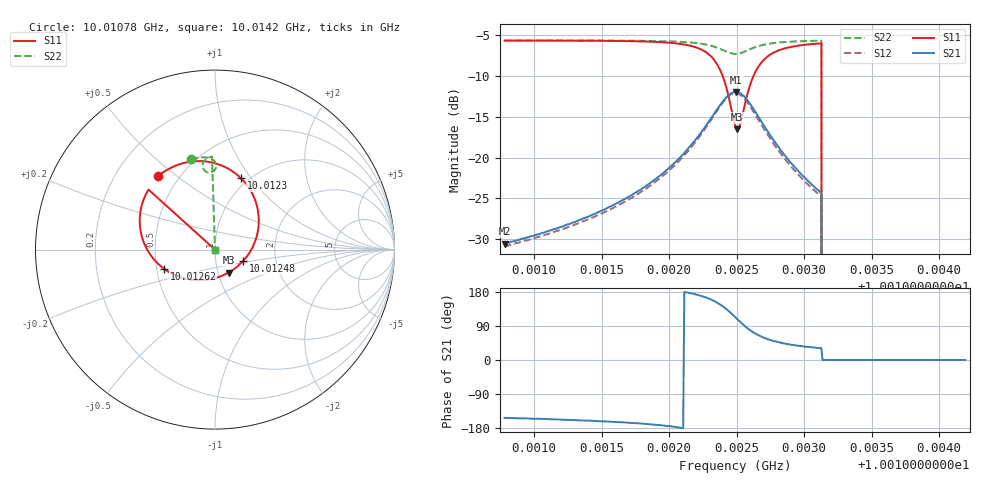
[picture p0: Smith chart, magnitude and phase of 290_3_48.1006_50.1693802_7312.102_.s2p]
#  HZ  S  RI  R  50.00
! Rohde & Schwarz Vector Network Analyzer
! Rohde-Schwarz,ZNB20-2Port,1311601062101988,3.16
! Created: UTC 12/23/2023, 4:03:40 AM
! freq[Hz]  re:S11  im:S11  re:S21  im:S21  re:S12  im:S12  re:S22  im:S22
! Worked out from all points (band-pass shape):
!   401 points, 10.01078 GHz to 10.0142 GHz, reference 50 ohm
!   highest |S21| = -11.97 dB at 10.0125 GHz (marker M1); lowest = -30.5 dB at 10.01078 GHz (marker M2)
!   |S21| within 3 dB of the highest: 10.01232 GHz to 10.01266 GHz (339.9 kHz wide, 0.00339 % of centre)
!   lowest |S11| = -16.6 dB at 10.01251 GHz (marker M3), VSWR 1.35, Z = 56.2 - j14.7 ohm
!   |S11| at or under -10 dB: 10.0124 GHz to 10.01263 GHz (229.7 kHz wide, 0.00229 % of centre); 10.01313 GHz to end of sweep
!   |S22| runs from - to -5.7 dB; largest |S21 - S12| = 0.012
!   S11 on the Smith chart (normalised r, x): 10.01078 GHz: 0.38, +0.43; 10.0123 GHz: 0.92, +0.89; 10.01248 GHz: 1.35, -0.18; 10.01262 GHz: 0.55, -0.13; 10.0142 GHz: 1.00, +0.00
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1.0010781e10  -0.3177 0.4102  -0.0264 -0.0136  -0.0247 -0.0146  -0.133 0.5025
1.0011353e10  -0.2598 0.4485  -0.0394 -0.0146  -0.0372 -0.0161  -0.0933 0.5112
1.0011925e10  -0.1361 0.4898  -0.0759 -0.0112  -0.0724 -0.015  -0.0452 0.5134
1.0012164e10  -0.000394 0.481  -0.1189 0.00791  -0.1156 0.00129  -0.0167 0.5047
1.00123e10  0.1445 0.3976  -0.16 0.0542  -0.1591 0.0437  0.00202 0.4853
1.001236e10  0.2149 0.2969  -0.1735 0.099  -0.1754 0.0876  0.00623 0.4684
1.0012411e10  0.2441 0.158  -0.1694 0.1518  -0.1735 0.1416  0.00215 0.4497
1.0012479e10  0.1552 -0.0652  -0.1121 0.2249  -0.1188 0.2168  -0.0223 0.4303
1.0012488e10  0.1307 -0.0891  -0.1005 0.2312  -0.1075 0.2233  -0.0265 0.4294
1.0012497e10  0.1045 -0.1097  -0.089 0.2359  -0.0955 0.2284  -0.0307 0.4292
1.0012505e10  0.076 -0.1279  -0.0771 0.2395  -0.082 0.2326  -0.0353 0.4294
1.0012522e10  0.0152 -0.1548  -0.0525 0.243  -0.0566 0.2364  -0.0436 0.4313
1.0012556e10  -0.1106 -0.1704  -0.00434 0.2362  -0.0104 0.2296  -0.0572 0.4395
1.0012616e10  -0.2831 -0.1074  0.0539 0.1964  0.0465 0.1905  -0.0685 0.4606
1.0012676e10  -0.3741 -0.0071  0.0772 0.1516  0.0697 0.1471  -0.0676 0.479
1.0012753e10  -0.4147 0.1048  0.083 0.1071  0.0752 0.1051  -0.0595 0.4948
1.0012881e10  -0.413 0.2249  0.0726 0.0651  0.0666 0.0646  -0.0435 0.5087
1.001306e10  -0.3826 0.313  0.0567 0.0375  0.0523 0.038  -0.0237 0.5165
1.0013111e10  -0.3737 0.3294  0.0532 0.0327  0.0492 0.0333  -0.0187 0.5177
1.0013154e10  0 0  0 0  0 0  0 0
1.0013632e10  0 0  0 0  0 0  0 0
1.0014195e10  0 0  0 0  0 0  0 0
